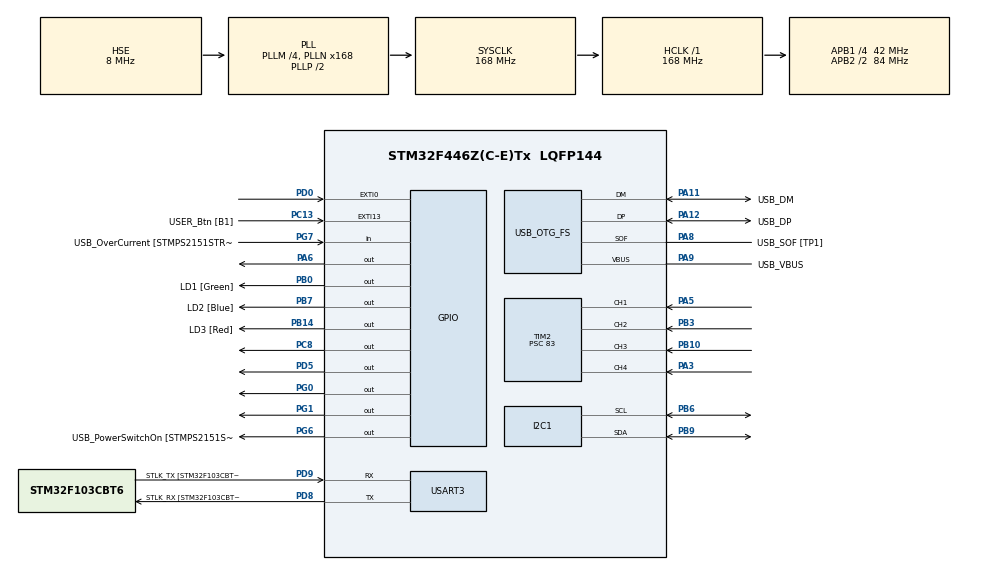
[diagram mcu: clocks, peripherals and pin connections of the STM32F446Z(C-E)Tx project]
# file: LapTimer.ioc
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I2C1.I2C_Mode=I2C_Fast
Mcu.Family=STM32F4
Mcu.Name=STM32F446Z(C-E)Tx
Mcu.Package=LQFP144
NVIC.EXTI0_IRQn=true\:0\:0\:false\:false\:true\:true\:true\:true
NVIC.PriorityGroup=NVIC_PRIORITYGROUP_4
NVIC.TIM2_IRQn=true\:0\:0\:false\:false\:true\:true\:true\:true
NVIC.TIM3_IRQn=true\:0\:0\:false\:false\:true\:true\:true\:true
PA10.GPIO_Label=USB_ID
PA10.Signal=USB_OTG_FS_ID
PA11.GPIO_Label=USB_DM
PA11.Mode=Device_Only
PA11.Signal=USB_OTG_FS_DM
PA12.GPIO_Label=USB_DP
PA12.Mode=Device_Only
PA12.Signal=USB_OTG_FS_DP
PA13.GPIO_Label=TMS
PA13.Mode=Serial_Wire
PA13.Signal=SYS_JTMS-SWDIO
PA14.GPIO_Label=TCK
PA14.Mode=Serial_Wire
PA14.Signal=SYS_JTCK-SWCLK
PA3.Signal=S_TIM2_CH4
PA5.Signal=S_TIM2_CH1_ETR
PA6.Signal=GPIO_Output
PA8.GPIO_Label=USB_SOF [TP1]
PA8.Mode=Activate_SOF_FS
PA8.Signal=USB_OTG_FS_SOF
PA9.GPIO_Label=USB_VBUS
PA9.Mode=Activate_VBUS
PA9.Signal=USB_OTG_FS_VBUS
PB0.GPIO_Label=LD1 [Green]
PB0.Signal=GPIO_Output
PB10.Signal=S_TIM2_CH3
PB14.GPIO_Label=LD3 [Red]
PB14.Signal=GPIO_Output
PB3.Signal=S_TIM2_CH2
PB6.Mode=I2C
PB6.Signal=I2C1_SCL
PB7.GPIO_Label=LD2 [Blue]
PB7.Signal=GPIO_Output
PB9.Mode=I2C
PB9.Signal=I2C1_SDA
PC13.GPIO_Label=USER_Btn [B1]
PC13.Signal=GPXTI13
PC14-OSC32_IN.Mode=LSE-External-Oscillator
PC14-OSC32_IN.Signal=RCC_OSC32_IN
PC15-OSC32_OUT.Mode=LSE-External-Oscillator
PC15-OSC32_OUT.Signal=RCC_OSC32_OUT
PC8.Signal=GPIO_Output
PD0.GPIO_ModeDefaultEXTI=GPIO_MODE_IT_FALLING
PD0.GPIO_PuPd=GPIO_PULLUP
PD0.Signal=GPXTI0
PD5.Signal=GPIO_Output
PD8.GPIO_Label=STLK_RX [STM32F103CBT6_PA3]
PD8.Mode=Asynchronous
PD8.Signal=USART3_TX
PD9.GPIO_Label=STLK_TX [STM32F103CBT6_PA2]
PD9.Mode=Asynchronous
PD9.Signal=USART3_RX
PG0.Signal=GPIO_Output
PG1.Signal=GPIO_Output
PG6.GPIO_Label=USB_PowerSwitchOn [STMPS2151STR_EN]
PG6.Signal=GPIO_Output
PG7.GPIO_Label=USB_OverCurrent [STMPS2151STR_FAULT]
PG7.Signal=GPIO_Input
PH0-OSC_IN.GPIO_Label=MCO [STM32F103CBT6_PA8]
PH0-OSC_IN.Mode=HSE-External-Oscillator
PH0-OSC_IN.Signal=RCC_OSC_IN
PH1-OSC_OUT.Mode=HSE-External-Oscillator
PH1-OSC_OUT.Signal=RCC_OSC_OUT
ProjectManager.HeapSize=0x200
ProjectManager.StackSize=0x400
ProjectManager.TargetToolchain=STM32CubeIDE
RCC.48MHZClocksFreq_Value=24000000
RCC.AHBFreq_Value=168000000
RCC.APB1CLKDivider=RCC_HCLK_DIV4
RCC.APB1Freq_Value=42000000
RCC.APB1TimFreq_Value=84000000
RCC.APB2CLKDivider=RCC_HCLK_DIV2
RCC.APB2Freq_Value=84000000
RCC.APB2TimFreq_Value=168000000
RCC.CortexFreq_Value=168000000
RCC.HCLKFreq_Value=168000000
RCC.HSE_VALUE=8000000
RCC.HSI_VALUE=16000000
RCC.PLLM=4
RCC.PLLMUL=RCC_PLL_MUL9
RCC.PLLN=168
RCC.PLLQ=7
RCC.PRESCALERUSB=RCC_USBCLKSOURCE_PLL_DIV1_5
RCC.SYSCLKFreq_VALUE=168000000
RCC.SYSCLKSource=RCC_SYSCLKSOURCE_PLLCLK
RCC.SYSCLKSourceVirtual=RCC_SYSCLKSOURCE_PLLCLK
RCC.USBFreq_Value=48000000
RCC.VCOOutputFreq_Value=336000000
SH.S_TIM2_CH1_ETR.0=TIM2_CH1,Input_Capture1_from_TI1
SH.S_TIM2_CH2.0=TIM2_CH2,Input_Capture2_from_TI2
SH.S_TIM2_CH3.0=TIM2_CH3,Input_Capture3_from_TI3
SH.S_TIM2_CH4.0=TIM2_CH4,Input_Capture4_from_TI4
TIM2.Channel-Input_Capture1_from_TI1=TIM_CHANNEL_1
TIM2.Channel-Input_Capture2_from_TI2=TIM_CHANNEL_2
TIM2.Channel-Input_Capture3_from_TI3=TIM_CHANNEL_3
TIM2.Channel-Input_Capture4_from_TI4=TIM_CHANNEL_4
TIM2.ICPolarity_CH1=TIM_INPUTCHANNELPOLARITY_BOTHEDGE
TIM2.ICPolarity_CH2=TIM_INPUTCHANNELPOLARITY_BOTHEDGE
TIM2.ICPolarity_CH3=TIM_INPUTCHANNELPOLARITY_BOTHEDGE
TIM2.ICPolarity_CH4=TIM_INPUTCHANNELPOLARITY_BOTHEDGE
TIM2.Prescaler=83
TIM3.Period=7518
TIM3.Prescaler=83
USART3.VirtualMode=VM_ASYNC
USB_OTG_FS.VirtualMode=Device_Only
VP_TIM3_VS_ClockSourceINT.Mode=Internal
board=NUCLEO-F446ZE

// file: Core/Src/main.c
/* USER CODE BEGIN Header */
/**
  ******************************************************************************
  * @file           : main.c
  * @brief          : Main program body
  ******************************************************************************
  * @attention
  *
  * Copyright (c) 2025 STMicroelectronics.
  * All rights reserved.
  *
  * This software is licensed under terms that can be found in the LICENSE file
  * in the root directory of this software component.
  * If no LICENSE file comes with this software, it is provided AS-IS.
  *
  ******************************************************************************
  */
/* USER CODE END Header */
#include "main.h"

/* USER CODE BEGIN Includes */
#include "core_cm4.h"
#include "i2c_lcd.h"
/* USER CODE END Includes */

/* USER CODE BEGIN PTD */
#define NUM_SENSORS 4
/* USER CODE END PTD */

I2C_HandleTypeDef hi2c1;

TIM_HandleTypeDef htim2;
TIM_HandleTypeDef htim3;

UART_HandleTypeDef huart3;

PCD_HandleTypeDef hpcd_USB_OTG_FS;

/* USER CODE BEGIN PV */

I2C_LCD_HandleTypeDef lcd1;

/* USER CODE END PV */

void SystemClock_Config(void);
static void MX_GPIO_Init(void);
static void MX_USART3_UART_Init(void);
static void MX_USB_OTG_FS_PCD_Init(void);
static void MX_TIM3_Init(void);
static void MX_I2C1_Init(void);
static void MX_TIM2_Init(void);

/* USER CODE BEGIN 0 */

/* ----- MULTI CHANNEL ECHO VARIABLES ----- */

volatile uint32_t echo_start[NUM_SENSORS] = {0};
volatile uint32_t echo_end[NUM_SENSORS] = {0};
volatile uint8_t  echo_captured[NUM_SENSORS] = {0};

/* ---------------------------------------- */
/* ----- BOOL/STATE VARIABLES ----- */

volatile uint8_t isRunning = 0;
volatile uint8_t previousState = 0;
volatile uint8_t start_stop_stay = 0;
<<<<<<< HEAD
		 uint8_t ledId = 0;
		 int second = 1000;
=======
volatile uint8_t button_state;
		 uint8_t ledId = 0;
		 int second = 1000;
		 int detectionDistance = 40;
>>>>>>> main

/* -------------------------------- */
/* ----- TIMER/LONG VARIABLES ----- */

volatile uint32_t stopwatch_count = 0;
volatile uint32_t currentMillis, previousMillis = 0;
		 uint32_t ignoreStateUntil = 0;
		 uint32_t distances[NUM_SENSORS] = {0};
		 uint32_t stopwatchMillis = 0;

/* -------------------------------- */
/* ----- USED FUNCTIONS ----- */
<<<<<<< HEAD
=======

>>>>>>> main
void HAL_TIM_PeriodElapsedCallback(TIM_HandleTypeDef *htim);
void HAL_GPIO_EXTI_Callback(uint16_t GPIO_Pin);
void HAL_TIM_IC_CaptureCallback(TIM_HandleTypeDef *htim);
void start_stopwatch();
void stop_stopwatch();
void delay_ms(uint32_t ms);
void delay_us(uint32_t us);
void send_time_to_outputs();
void toggleLED(uint8_t index, uint8_t v);
void resetLEDs();
void readSensor();
float getDistanceInCm(uint8_t ch_index);
void checkForDrone();

/* -------------------------- */
/* USER CODE END 0 */

int main(void)
{

  /* MCU Configuration--------------------------------------------------------*/

  /* Reset of all peripherals, Initializes the Flash interface and the Systick. */
  HAL_Init();

  /* Configure the system clock */
  SystemClock_Config();

  /* Initialize all configured peripherals */
  MX_GPIO_Init();
  MX_USART3_UART_Init();
  MX_USB_OTG_FS_PCD_Init();
  MX_TIM3_Init();
  MX_I2C1_Init();
  MX_TIM2_Init();
  /* USER CODE BEGIN 2 */

  // LCD initialization
	  lcd1.hi2c = &hi2c1;
	  lcd1.address = 0x4E;
	  lcd_init(&lcd1);
  // CONTENT ON LCD
	  lcd_clear(&lcd1);

	  HAL_TIM_Base_Start_IT(&htim3);
	  HAL_TIM_IC_Start_IT(&htim2, TIM_CHANNEL_1);
	  HAL_TIM_IC_Start_IT(&htim2, TIM_CHANNEL_2);
	  HAL_TIM_IC_Start_IT(&htim2, TIM_CHANNEL_3);
	  HAL_TIM_IC_Start_IT(&htim2, TIM_CHANNEL_4);
	  send_time_to_outputs();

  /* USER CODE END 2 */

  /* Infinite loop */
  /* USER CODE BEGIN WHILE */
  while (1)
  {
	  checkForDrone();
	/* USER CODE END WHILE */

  }
}

void SystemClock_Config(void)
{
  RCC_OscInitTypeDef RCC_OscInitStruct = {0};
  RCC_ClkInitTypeDef RCC_ClkInitStruct = {0};

  /** Configure the main internal regulator output voltage
  */
  __HAL_RCC_PWR_CLK_ENABLE();
  __HAL_PWR_VOLTAGESCALING_CONFIG(PWR_REGULATOR_VOLTAGE_SCALE1);

  /** Initializes the RCC Oscillators according to the specified parameters
  * in the RCC_OscInitTypeDef structure.
  */
  RCC_OscInitStruct.OscillatorType = RCC_OSCILLATORTYPE_HSE;
  RCC_OscInitStruct.HSEState = RCC_HSE_ON;
  RCC_OscInitStruct.PLL.PLLState = RCC_PLL_ON;
  RCC_OscInitStruct.PLL.PLLSource = RCC_PLLSOURCE_HSE;
  RCC_OscInitStruct.PLL.PLLM = 4;
  RCC_OscInitStruct.PLL.PLLN = 168;
  RCC_OscInitStruct.PLL.PLLP = RCC_PLLP_DIV2;
  RCC_OscInitStruct.PLL.PLLQ = 7;
  RCC_OscInitStruct.PLL.PLLR = 2;
  if (HAL_RCC_OscConfig(&RCC_OscInitStruct) != HAL_OK)
  {
    Error_Handler();
  }

  /** Initializes the CPU, AHB and APB buses clocks
  */
  RCC_ClkInitStruct.ClockType = RCC_CLOCKTYPE_HCLK|RCC_CLOCKTYPE_SYSCLK
                              |RCC_CLOCKTYPE_PCLK1|RCC_CLOCKTYPE_PCLK2;
  RCC_ClkInitStruct.SYSCLKSource = RCC_SYSCLKSOURCE_PLLCLK;
  RCC_ClkInitStruct.AHBCLKDivider = RCC_SYSCLK_DIV1;
  RCC_ClkInitStruct.APB1CLKDivider = RCC_HCLK_DIV4;
  RCC_ClkInitStruct.APB2CLKDivider = RCC_HCLK_DIV2;

  if (HAL_RCC_ClockConfig(&RCC_ClkInitStruct, FLASH_LATENCY_5) != HAL_OK)
  {
    Error_Handler();
  }
}

static void MX_I2C1_Init(void)
{

  hi2c1.Instance = I2C1;
  hi2c1.Init.ClockSpeed = 400000;
  hi2c1.Init.DutyCycle = I2C_DUTYCYCLE_2;
  hi2c1.Init.OwnAddress1 = 0;
  hi2c1.Init.AddressingMode = I2C_ADDRESSINGMODE_7BIT;
  hi2c1.Init.DualAddressMode = I2C_DUALADDRESS_DISABLE;
  hi2c1.Init.OwnAddress2 = 0;
  hi2c1.Init.GeneralCallMode = I2C_GENERALCALL_DISABLE;
  hi2c1.Init.NoStretchMode = I2C_NOSTRETCH_DISABLE;
  if (HAL_I2C_Init(&hi2c1) != HAL_OK)
  {
    Error_Handler();
  }

}

static void MX_TIM2_Init(void)
{

  TIM_MasterConfigTypeDef sMasterConfig = {0};
  TIM_IC_InitTypeDef sConfigIC = {0};

  htim2.Instance = TIM2;
  htim2.Init.Prescaler = 83;
  htim2.Init.CounterMode = TIM_COUNTERMODE_UP;
  htim2.Init.Period = 4294967295;
  htim2.Init.ClockDivision = TIM_CLOCKDIVISION_DIV1;
  htim2.Init.AutoReloadPreload = TIM_AUTORELOAD_PRELOAD_DISABLE;
  if (HAL_TIM_IC_Init(&htim2) != HAL_OK)
  {
    Error_Handler();
  }
  sMasterConfig.MasterOutputTrigger = TIM_TRGO_RESET;
  sMasterConfig.MasterSlaveMode = TIM_MASTERSLAVEMODE_DISABLE;
  if (HAL_TIMEx_MasterConfigSynchronization(&htim2, &sMasterConfig) != HAL_OK)
  {
    Error_Handler();
  }
  sConfigIC.ICPolarity = TIM_INPUTCHANNELPOLARITY_BOTHEDGE;
  sConfigIC.ICSelection = TIM_ICSELECTION_DIRECTTI;
  sConfigIC.ICPrescaler = TIM_ICPSC_DIV1;
  sConfigIC.ICFilter = 0;
  if (HAL_TIM_IC_ConfigChannel(&htim2, &sConfigIC, TIM_CHANNEL_1) != HAL_OK)
  {
    Error_Handler();
  }
  if (HAL_TIM_IC_ConfigChannel(&htim2, &sConfigIC, TIM_CHANNEL_2) != HAL_OK)
  {
    Error_Handler();
  }
  if (HAL_TIM_IC_ConfigChannel(&htim2, &sConfigIC, TIM_CHANNEL_3) != HAL_OK)
  {
    Error_Handler();
  }
  if (HAL_TIM_IC_ConfigChannel(&htim2, &sConfigIC, TIM_CHANNEL_4) != HAL_OK)
  {
    Error_Handler();
  }
  /* USER CODE BEGIN TIM2_Init 2 */
  HAL_NVIC_SetPriority(TIM2_IRQn, 2, 0);
  HAL_NVIC_EnableIRQ(TIM2_IRQn);
  /* USER CODE END TIM2_Init 2 */

}

static void MX_TIM3_Init(void)
{

  TIM_ClockConfigTypeDef sClockSourceConfig = {0};
  TIM_MasterConfigTypeDef sMasterConfig = {0};

  htim3.Instance = TIM3;
  htim3.Init.Prescaler = 83;
  htim3.Init.CounterMode = TIM_COUNTERMODE_UP;
  htim3.Init.Period = 7518;
  htim3.Init.ClockDivision = TIM_CLOCKDIVISION_DIV1;
  htim3.Init.AutoReloadPreload = TIM_AUTORELOAD_PRELOAD_DISABLE;
  if (HAL_TIM_Base_Init(&htim3) != HAL_OK)
  {
    Error_Handler();
  }
  sClockSourceConfig.ClockSource = TIM_CLOCKSOURCE_INTERNAL;
  if (HAL_TIM_ConfigClockSource(&htim3, &sClockSourceConfig) != HAL_OK)
  {
    Error_Handler();
  }
  sMasterConfig.MasterOutputTrigger = TIM_TRGO_RESET;
  sMasterConfig.MasterSlaveMode = TIM_MASTERSLAVEMODE_DISABLE;
  if (HAL_TIMEx_MasterConfigSynchronization(&htim3, &sMasterConfig) != HAL_OK)
  {
    Error_Handler();
  }
  /* USER CODE BEGIN TIM3_Init 2 */
  HAL_NVIC_SetPriority(TIM3_IRQn, 0, 0);
  HAL_NVIC_EnableIRQ(TIM3_IRQn);
  /* USER CODE END TIM3_Init 2 */

}

static void MX_USART3_UART_Init(void)
{

  huart3.Instance = USART3;
  huart3.Init.BaudRate = 115200;
  huart3.Init.WordLength = UART_WORDLENGTH_8B;
  huart3.Init.StopBits = UART_STOPBITS_1;
  huart3.Init.Parity = UART_PARITY_NONE;
  huart3.Init.Mode = UART_MODE_TX_RX;
  huart3.Init.HwFlowCtl = UART_HWCONTROL_NONE;
  huart3.Init.OverSampling = UART_OVERSAMPLING_16;
  if (HAL_UART_Init(&huart3) != HAL_OK)
  {
    Error_Handler();
  }

}

static void MX_USB_OTG_FS_PCD_Init(void)
{

  hpcd_USB_OTG_FS.Instance = USB_OTG_FS;
  hpcd_USB_OTG_FS.Init.dev_endpoints = 6;
  hpcd_USB_OTG_FS.Init.speed = PCD_SPEED_FULL;
  hpcd_USB_OTG_FS.Init.dma_enable = DISABLE;
  hpcd_USB_OTG_FS.Init.phy_itface = PCD_PHY_EMBEDDED;
  hpcd_USB_OTG_FS.Init.Sof_enable = ENABLE;
  hpcd_USB_OTG_FS.Init.low_power_enable = DISABLE;
  hpcd_USB_OTG_FS.Init.lpm_enable = DISABLE;
  hpcd_USB_OTG_FS.Init.vbus_sensing_enable = ENABLE;
  hpcd_USB_OTG_FS.Init.use_dedicated_ep1 = DISABLE;
  if (HAL_PCD_Init(&hpcd_USB_OTG_FS) != HAL_OK)
  {
    Error_Handler();
  }

}

static void MX_GPIO_Init(void)
{
  GPIO_InitTypeDef GPIO_InitStruct = {0};

  /* GPIO Ports Clock Enable */
  __HAL_RCC_GPIOC_CLK_ENABLE();
  __HAL_RCC_GPIOH_CLK_ENABLE();
  __HAL_RCC_GPIOA_CLK_ENABLE();
  __HAL_RCC_GPIOB_CLK_ENABLE();
  __HAL_RCC_GPIOG_CLK_ENABLE();
  __HAL_RCC_GPIOD_CLK_ENABLE();

  /*Configure GPIO pin Output Level */
  HAL_GPIO_WritePin(GPIOA, GPIO_PIN_6, GPIO_PIN_RESET);

  /*Configure GPIO pin Output Level */
  HAL_GPIO_WritePin(GPIOB, LD1_Pin|LD3_Pin|LD2_Pin, GPIO_PIN_RESET);

  /*Configure GPIO pin Output Level */
  HAL_GPIO_WritePin(GPIOG, GPIO_PIN_0|GPIO_PIN_1|USB_PowerSwitchOn_Pin, GPIO_PIN_RESET);

  /*Configure GPIO pin Output Level */
  HAL_GPIO_WritePin(GPIOC, GPIO_PIN_8, GPIO_PIN_RESET);

  /*Configure GPIO pin Output Level */
  HAL_GPIO_WritePin(GPIOD, GPIO_PIN_5, GPIO_PIN_RESET);

  /*Configure GPIO pin : USER_Btn_Pin */
  GPIO_InitStruct.Pin = USER_Btn_Pin;
  GPIO_InitStruct.Mode = GPIO_MODE_IT_RISING;
  GPIO_InitStruct.Pull = GPIO_NOPULL;
  HAL_GPIO_Init(USER_Btn_GPIO_Port, &GPIO_InitStruct);

  /*Configure GPIO pin : PA6 */
  GPIO_InitStruct.Pin = GPIO_PIN_6;
  GPIO_InitStruct.Mode = GPIO_MODE_OUTPUT_PP;
  GPIO_InitStruct.Pull = GPIO_NOPULL;
  GPIO_InitStruct.Speed = GPIO_SPEED_FREQ_LOW;
  HAL_GPIO_Init(GPIOA, &GPIO_InitStruct);

  /*Configure GPIO pins : LD1_Pin LD3_Pin LD2_Pin */
  GPIO_InitStruct.Pin = LD1_Pin|LD3_Pin|LD2_Pin;
  GPIO_InitStruct.Mode = GPIO_MODE_OUTPUT_PP;
  GPIO_InitStruct.Pull = GPIO_NOPULL;
  GPIO_InitStruct.Speed = GPIO_SPEED_FREQ_LOW;
  HAL_GPIO_Init(GPIOB, &GPIO_InitStruct);

  /*Configure GPIO pins : PG0 PG1 USB_PowerSwitchOn_Pin */
  GPIO_InitStruct.Pin = GPIO_PIN_0|GPIO_PIN_1|USB_PowerSwitchOn_Pin;
  GPIO_InitStruct.Mode = GPIO_MODE_OUTPUT_PP;
  GPIO_InitStruct.Pull = GPIO_NOPULL;
  GPIO_InitStruct.Speed = GPIO_SPEED_FREQ_LOW;
  HAL_GPIO_Init(GPIOG, &GPIO_InitStruct);

  /*Configure GPIO pin : USB_OverCurrent_Pin */
  GPIO_InitStruct.Pin = USB_OverCurrent_Pin;
  GPIO_InitStruct.Mode = GPIO_MODE_INPUT;
  GPIO_InitStruct.Pull = GPIO_NOPULL;
  HAL_GPIO_Init(USB_OverCurrent_GPIO_Port, &GPIO_InitStruct);

  /*Configure GPIO pin : PC8 */
  GPIO_InitStruct.Pin = GPIO_PIN_8;
  GPIO_InitStruct.Mode = GPIO_MODE_OUTPUT_PP;
  GPIO_InitStruct.Pull = GPIO_NOPULL;
  GPIO_InitStruct.Speed = GPIO_SPEED_FREQ_LOW;
  HAL_GPIO_Init(GPIOC, &GPIO_InitStruct);

  /*Configure GPIO pin : PD0 */
  GPIO_InitStruct.Pin = GPIO_PIN_0;
  GPIO_InitStruct.Mode = GPIO_MODE_IT_FALLING;
  GPIO_InitStruct.Pull = GPIO_PULLUP;
  HAL_GPIO_Init(GPIOD, &GPIO_InitStruct);

  /*Configure GPIO pin : PD5 */
  GPIO_InitStruct.Pin = GPIO_PIN_5;
  GPIO_InitStruct.Mode = GPIO_MODE_OUTPUT_PP;
  GPIO_InitStruct.Pull = GPIO_NOPULL;
  GPIO_InitStruct.Speed = GPIO_SPEED_FREQ_LOW;
  HAL_GPIO_Init(GPIOD, &GPIO_InitStruct);

  /* EXTI interrupt init*/
  HAL_NVIC_SetPriority(EXTI0_IRQn, 0, 0);
  HAL_NVIC_EnableIRQ(EXTI0_IRQn);

}

/* USER CODE BEGIN 4 */

//Real-time stopwatch (100Hz)
void HAL_TIM_PeriodElapsedCallback(TIM_HandleTypeDef *htim) {
    if (htim->Instance == TIM3 && isRunning) {
    	__HAL_TIM_CLEAR_IT(htim, TIM_IT_UPDATE);
           stopwatch_count++;
           send_time_to_outputs();
        }
}

//Button interrupt for manual start/stop
void HAL_GPIO_EXTI_Callback(uint16_t GPIO_Pin) {

	currentMillis = HAL_GetTick();
    if (GPIO_Pin == GPIO_PIN_0 && (currentMillis - previousMillis > 200)) {

<<<<<<< HEAD
        if(isRunning){	stop_stopwatch();  start_stop_stay = 2; send_time_to_outputs(); }
        else		 {	 lcd_clear(&lcd1); start_stopwatch(); start_stop_stay = 1; send_time_to_outputs();}
=======
        if(isRunning){	stop_stopwatch();  start_stop_stay = 2; send_time_to_outputs(); button_state++;}
        else if(button_state == 1){ stopwatch_count = 0; send_time_to_outputs(); button_state++;}
        else	{lcd_clear(&lcd1); start_stopwatch(); start_stop_stay = 1; send_time_to_outputs(); button_state = 0;}
>>>>>>> main

        previousMillis = currentMillis;
    }
}

//ECHO capture for all channels
void HAL_TIM_IC_CaptureCallback(TIM_HandleTypeDef *htim) {
	if (htim->Instance == TIM2){
		uint8_t ch_index = 0;
		uint32_t ch_value = 0;
		// Determine which channel triggered the interrupt
		switch (htim->Channel) {
			case HAL_TIM_ACTIVE_CHANNEL_1: ch_index = 0; ch_value = TIM_CHANNEL_1; break;
			case HAL_TIM_ACTIVE_CHANNEL_2: ch_index = 1; ch_value = TIM_CHANNEL_2; break;
			case HAL_TIM_ACTIVE_CHANNEL_3: ch_index = 2; ch_value = TIM_CHANNEL_3; break;
			case HAL_TIM_ACTIVE_CHANNEL_4: ch_index = 3; ch_value = TIM_CHANNEL_4; break;
			default: return;
		}

		 uint32_t captured_value = HAL_TIM_ReadCapturedValue(htim, ch_value);

		// Capture start or end of pulse
		if (echo_captured[ch_index] == 0) {
			echo_start[ch_index] = captured_value;
			echo_captured[ch_index] = 1;
		} else if (echo_captured[ch_index] == 1) {
			echo_end[ch_index] = captured_value;
			echo_captured[ch_index] = 2;  // Capture complete
		}
	}
}

//Start/Reset stopwatch
void start_stopwatch() {
	isRunning = 1;
    stopwatch_count = 0;

}

//Stop and show stopwatch
void stop_stopwatch() {
    isRunning = 0;
    send_time_to_outputs();
}

//Non-blocking delay in ms
void delay_ms(uint32_t ms) {
    uint32_t start = HAL_GetTick();
    while (HAL_GetTick() - start < ms) {

    }
}

//Non-blocking delay in us
void delay_us(uint32_t us) {
    // Enable the DWT cycle counter
    if (!(DWT->CTRL & DWT_CTRL_CYCCNTENA_Msk)) {
        DWT->CTRL |= DWT_CTRL_CYCCNTENA_Msk;
    }

    uint32_t start = DWT->CYCCNT;  // Read current cycle count
    uint32_t target = us * (SystemCoreClock / 1000000);  // Convert microseconds to cycles

    while ((DWT->CYCCNT - start) < target);  // Wait until the required cycles pass
}

//Sending stopwatch data to LCD and UART (app)
void send_time_to_outputs() {

    char buffer[10];  // Enough space for "999.99\0"

    lcd_gotoxy(&lcd1, 0, 0);
    lcd_puts(&lcd1, "Time: ");
    snprintf(buffer, sizeof(buffer), "%lu.%02lu", stopwatch_count / 100, stopwatch_count % 100);
    lcd_puts(&lcd1, buffer);
    snprintf(buffer, sizeof(buffer), "%lu.%02lu\n", stopwatch_count / 100, stopwatch_count % 100);
    HAL_UART_Transmit(&huart3, (uint8_t*)buffer, strlen(buffer), HAL_MAX_DELAY);

}

//Toggle state for indexed LED
void toggleLED(uint8_t index, uint8_t v){
	if(index < 0 || index > NUM_SENSORS) return;
	else{
		switch(index){
		    	case 0:
		    		HAL_GPIO_WritePin(GPIOC, GPIO_PIN_8, v);
		    		break;
		    	case 1:
		    		HAL_GPIO_WritePin(GPIOD, GPIO_PIN_5, v);
		    		break;
		    	case 2:
		    		HAL_GPIO_WritePin(GPIOG, GPIO_PIN_1, v);
		    		break;
		       	case 3:
					HAL_GPIO_WritePin(GPIOG, GPIO_PIN_0, v);
					break;
		    	default: return;
		}
	}
}

//Turn Off all LEDs
void resetLEDs(){
	HAL_GPIO_WritePin(GPIOC, GPIO_PIN_8, 0);
	HAL_GPIO_WritePin(GPIOD, GPIO_PIN_5, 0);
	HAL_GPIO_WritePin(GPIOG, GPIO_PIN_1, 0);
	HAL_GPIO_WritePin(GPIOG, GPIO_PIN_0, 0);
}

//Send trigger impuls to each sensor
void readSensor() {

		for (int i = 0; i < NUM_SENSORS; i++){
		    	echo_captured[i] = 0;
		    	echo_end[i] = 0;
		    	echo_start[i] = 0;
		 }

		HAL_GPIO_WritePin(GPIOA, GPIO_PIN_6, 1);
		delay_us(10);								// Delay 10us, as per datasheet
		HAL_GPIO_WritePin(GPIOA, GPIO_PIN_6, 0);

	    __HAL_TIM_SET_COUNTER(&htim3, 0);

}

//Convert pulse_width to distance(cm)
float getDistanceInCm(uint8_t ch_index) {
    if (echo_captured[ch_index] == 2) {
        uint32_t pulse_width;

        if (echo_end[ch_index] >= echo_start[ch_index]) {
            pulse_width = echo_end[ch_index] - echo_start[ch_index];
        } else {
            // Timer overflow case -> ARR+1 = 2^32+1
            pulse_width = 0xFFFFFFFF - echo_start[ch_index] + echo_end[ch_index];
        }
        distances[ch_index] = pulse_width / 58.0;
        return distances[ch_index]; // Convert to cm
    }
    return -1;
}

<<<<<<< HEAD
//Check each sensor for value < 30cm - drone detection
void checkForDrone() {
    readSensor();
    delay_ms(20);
=======
//Check each sensor for value < desetctionDistance - drone detection
void checkForDrone() {
    readSensor();
    delay_ms(10);
>>>>>>> main
    float distance[NUM_SENSORS] = {0};
    uint8_t currentState = 0;
    currentMillis = HAL_GetTick();

    for (int i = NUM_SENSORS - 1; i >= 0; i--) {
        distance[i] = getDistanceInCm(i);
<<<<<<< HEAD
        if (distance[i] > 0 && distance[i] < 30) {
=======
        if (distance[i] > 0 && distance[i] < detectionDistance) {
>>>>>>> main
            currentState = 1;
            ledId = i;
            break;  // Stop checking as soon as a drone is detected
        }
    }

    // If we are within the ignore period, exit early without updating state
    if(currentMillis - previousMillis < 2*second){

    	return;
    }

    resetLEDs();

    if(currentState != previousState){
		if (previousState == 1 && currentState == 0 && start_stop_stay == 0) {
			if (!isRunning ) {
				lcd_clear(&lcd1);
				start_stopwatch();
				start_stop_stay++;
				previousMillis = currentMillis;
				toggleLED(ledId, 1);

			}
		}

		else if (previousState == 0 && currentState == 1 && start_stop_stay == 1) {
			if (isRunning ) {
				stop_stopwatch();
				start_stop_stay++;
				send_time_to_outputs();				//Updating LCD output now, then delaying readings
				previousMillis = currentMillis;
				toggleLED(ledId, 1);
			}
		}

		else if(previousState == 1 && currentState == 0 && start_stop_stay == 2){
			send_time_to_outputs();
			start_stop_stay++;
			}

		else if(previousState == 0 && currentState == 1 && start_stop_stay == 3){
				send_time_to_outputs();
				start_stop_stay=0;

				}
    }
    previousState = currentState;

}

/* USER CODE END 4 */

void Error_Handler(void)
{
  __disable_irq();
  while (1)
  {
  }
}
